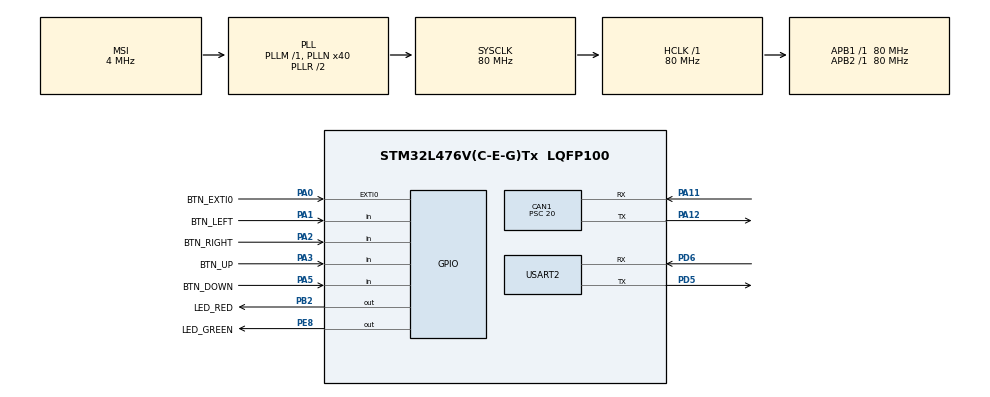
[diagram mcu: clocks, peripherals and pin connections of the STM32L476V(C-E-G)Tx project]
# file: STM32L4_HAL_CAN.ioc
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CAN1.BS1=CAN_BS1_13TQ
CAN1.BS2=CAN_BS2_2TQ
CAN1.CalculateBaudRate=250000
CAN1.CalculateTimeBit=4000
CAN1.CalculateTimeQuantum=250.0
CAN1.Mode=CAN_MODE_LOOPBACK
CAN1.Prescaler=20
Mcu.Family=STM32L4
Mcu.Name=STM32L476V(C-E-G)Tx
Mcu.Package=LQFP100
NVIC.CAN1_RX0_IRQn=true\:0\:0\:false\:false\:true\:true\:true\:true
NVIC.EXTI0_IRQn=true\:0\:0\:false\:false\:true\:true\:true\:true
NVIC.PriorityGroup=NVIC_PRIORITYGROUP_4
PA0.GPIO_Label=BTN_EXTI0
PA0.Signal=GPXTI0
PA1.GPIO_Label=BTN_LEFT
PA1.GPIO_PuPd=GPIO_PULLDOWN
PA1.Signal=GPIO_Input
PA11.Mode=CAN_Activate
PA11.Signal=CAN1_RX
PA12.Mode=CAN_Activate
PA12.Signal=CAN1_TX
PA13\ (JTMS-SWDIO).Mode=Serial_Wire
PA13\ (JTMS-SWDIO).Signal=SYS_JTMS-SWDIO
PA14\ (JTCK-SWCLK).Mode=Serial_Wire
PA14\ (JTCK-SWCLK).Signal=SYS_JTCK-SWCLK
PA2.GPIO_Label=BTN_RIGHT
PA2.GPIO_PuPd=GPIO_PULLDOWN
PA2.Signal=GPIO_Input
PA3.GPIO_Label=BTN_UP
PA3.GPIO_PuPd=GPIO_PULLDOWN
PA3.Signal=GPIO_Input
PA5.GPIO_Label=BTN_DOWN
PA5.GPIO_PuPd=GPIO_PULLDOWN
PA5.Signal=GPIO_Input
PB2.GPIO_Label=LED_RED
PB2.Signal=GPIO_Output
PC14-OSC32_IN\ (PC14).Mode=LSE-External-Oscillator
PC14-OSC32_IN\ (PC14).Signal=RCC_OSC32_IN
PC15-OSC32_OUT\ (PC15).Mode=LSE-External-Oscillator
PC15-OSC32_OUT\ (PC15).Signal=RCC_OSC32_OUT
PD5.Mode=Asynchronous
PD5.Signal=USART2_TX
PD6.Mode=Asynchronous
PD6.Signal=USART2_RX
PE8.GPIO_Label=LED_GREEN
PE8.Signal=GPIO_Output
ProjectManager.HeapSize=0x200
ProjectManager.StackSize=0x400
ProjectManager.TargetToolchain=STM32CubeIDE
RCC.ADCFreq_Value=48000000
RCC.AHBFreq_Value=80000000
RCC.APB1Freq_Value=80000000
RCC.APB1TimFreq_Value=80000000
RCC.APB2Freq_Value=80000000
RCC.APB2TimFreq_Value=80000000
RCC.CortexFreq_Value=80000000
RCC.HCLKFreq_Value=80000000
RCC.HSE_VALUE=8000000
RCC.HSI_VALUE=16000000
RCC.MSI_VALUE=4000000
RCC.PLLN=40
RCC.PLLSAI1N=24
RCC.SYSCLKFreq_VALUE=80000000
RCC.SYSCLKSource=RCC_SYSCLKSOURCE_PLLCLK
RCC.USBFreq_Value=48000000
RCC.VCOOutputFreq_Value=160000000
USART2.VirtualMode-Asynchronous=VM_ASYNC
board=STM32L476G-DISCO

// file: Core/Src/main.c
/* USER CODE BEGIN Header */
/**
  ******************************************************************************
  * @file           : main.c
  * @brief          : Main program body
  ******************************************************************************
  * @attention
  *
  * Copyright (c) 2023 STMicroelectronics.
  * All rights reserved.
  *
  * This software is licensed under terms that can be found in the LICENSE file
  * in the root directory of this software component.
  * If no LICENSE file comes with this software, it is provided AS-IS.
  *
  ******************************************************************************
  */
/* USER CODE END Header */
#include "main.h"
#include "can.h"
#include "usart.h"
#include "gpio.h"

/* USER CODE BEGIN Includes */
#include <Stdio.h>
/* USER CODE END Includes */

void SystemClock_Config(void);

/* USER CODE BEGIN 0 */

int _write(int file, char* buf, int len)
{
  HAL_UART_Transmit(&huart2, (const uint8_t *)buf, len, 100);
  return len;
}

HAL_StatusTypeDef configCANFilter(uint8_t idx, uint32_t id, uint32_t mask)
{
  CAN_FilterTypeDef filter;

  filter.FilterIdHigh = ((id << 3) & 0xFFFF0000) >> 16;
  filter.FilterIdLow = (id << 3) & 0x0000FFF8;
  filter.FilterMaskIdHigh = ((mask << 3) & 0xFFFF0000) >> 16;
  filter.FilterMaskIdLow = (mask << 3) & 0x0000FFF8;
  filter.FilterScale = CAN_FILTERSCALE_32BIT;
  filter.FilterMode = CAN_FILTERMODE_IDMASK;
  filter.FilterFIFOAssignment = CAN_FILTER_FIFO0;
  filter.FilterBank = idx;
  filter.FilterActivation = ENABLE;
  filter.SlaveStartFilterBank = 14;

  return HAL_CAN_ConfigFilter(&hcan1, &filter);
}

HAL_StatusTypeDef txCANMessage(uint32_t extId)
{
  CAN_TxHeaderTypeDef txHeader;
  uint8_t data[8];
  uint32_t txMailBox;

  txHeader.ExtId = extId;
  txHeader.IDE = CAN_ID_EXT;
  txHeader.RTR = CAN_RTR_DATA;
  txHeader.DLC = 8;

  for(int i = 0; i < 8; i++)
  {
    data[i] = i;
  }

  while(HAL_CAN_GetTxMailboxesFreeLevel(&hcan1) == 0);

  return HAL_CAN_AddTxMessage(&hcan1, &txHeader, (const uint8_t*)&data, &txMailBox);
}

void HAL_CAN_RxFifo0MsgPendingCallback(CAN_HandleTypeDef *hcan)
{
  if(hcan->Instance == CAN1)
  {
    CAN_RxHeaderTypeDef rxHeader;
    uint8_t data[8];

    if(HAL_CAN_GetRxMessage(&hcan1, CAN_RX_FIFO0, &rxHeader, (uint8_t*)data) == HAL_OK)
    {
      printf("CAN ID: [%02X][%02X][%02X][%02X] [%02X][%02X][%02X][%02X][%02X][%02X][%02X][%02X]\r\n",
          (uint8_t)((rxHeader.ExtId & 0xFF000000) >> 24),
          (uint8_t)((rxHeader.ExtId & 0xFF0000) >> 16),
          (uint8_t)((rxHeader.ExtId & 0xFF00) >> 8),
          (uint8_t)((rxHeader.ExtId & 0xFF) >> 0),
          data[0], data[1], data[2], data[3], data[4], data[5], data[6], data[7]);
    }
  }
}

/* USER CODE END 0 */

int main(void)
{

  /* MCU Configuration--------------------------------------------------------*/

  /* Reset of all peripherals, Initializes the Flash interface and the Systick. */
  HAL_Init();

  /* Configure the system clock */
  SystemClock_Config();

  /* Initialize all configured peripherals */
  MX_GPIO_Init();
  MX_USART2_UART_Init();
  MX_CAN1_Init();
  /* USER CODE BEGIN 2 */

  // allow 0x100000000 ~ 0x100000FFF
  configCANFilter(0, 0x10000000, 0xFFFFF000);
  //configCANFilter(0, 0, 0);
  HAL_CAN_ActivateNotification(&hcan1, CAN_IT_RX_FIFO0_MSG_PENDING);
  HAL_CAN_Start(&hcan1);

  /* USER CODE END 2 */

  /* Infinite loop */
  while (1)
  {

    /* USER CODE BEGIN 3 */

    // accepted IDs
    txCANMessage(0x10000000);
    txCANMessage(0x10000FFF);

    // filtered IDs
    txCANMessage(0x10001000);

    HAL_Delay(1000);
  }
  /* USER CODE END 3 */
}

void SystemClock_Config(void)
{
  RCC_OscInitTypeDef RCC_OscInitStruct = {0};
  RCC_ClkInitTypeDef RCC_ClkInitStruct = {0};

  /** Configure the main internal regulator output voltage
  */
  if (HAL_PWREx_ControlVoltageScaling(PWR_REGULATOR_VOLTAGE_SCALE1) != HAL_OK)
  {
    Error_Handler();
  }

  /** Configure LSE Drive Capability
  */
  HAL_PWR_EnableBkUpAccess();
  __HAL_RCC_LSEDRIVE_CONFIG(RCC_LSEDRIVE_LOW);

  /** Initializes the RCC Oscillators according to the specified parameters
  * in the RCC_OscInitTypeDef structure.
  */
  RCC_OscInitStruct.OscillatorType = RCC_OSCILLATORTYPE_LSE|RCC_OSCILLATORTYPE_MSI;
  RCC_OscInitStruct.LSEState = RCC_LSE_ON;
  RCC_OscInitStruct.MSIState = RCC_MSI_ON;
  RCC_OscInitStruct.MSICalibrationValue = 0;
  RCC_OscInitStruct.MSIClockRange = RCC_MSIRANGE_6;
  RCC_OscInitStruct.PLL.PLLState = RCC_PLL_ON;
  RCC_OscInitStruct.PLL.PLLSource = RCC_PLLSOURCE_MSI;
  RCC_OscInitStruct.PLL.PLLM = 1;
  RCC_OscInitStruct.PLL.PLLN = 40;
  RCC_OscInitStruct.PLL.PLLP = RCC_PLLP_DIV7;
  RCC_OscInitStruct.PLL.PLLQ = RCC_PLLQ_DIV2;
  RCC_OscInitStruct.PLL.PLLR = RCC_PLLR_DIV2;
  if (HAL_RCC_OscConfig(&RCC_OscInitStruct) != HAL_OK)
  {
    Error_Handler();
  }

  /** Initializes the CPU, AHB and APB buses clocks
  */
  RCC_ClkInitStruct.ClockType = RCC_CLOCKTYPE_HCLK|RCC_CLOCKTYPE_SYSCLK
                              |RCC_CLOCKTYPE_PCLK1|RCC_CLOCKTYPE_PCLK2;
  RCC_ClkInitStruct.SYSCLKSource = RCC_SYSCLKSOURCE_PLLCLK;
  RCC_ClkInitStruct.AHBCLKDivider = RCC_SYSCLK_DIV1;
  RCC_ClkInitStruct.APB1CLKDivider = RCC_HCLK_DIV1;
  RCC_ClkInitStruct.APB2CLKDivider = RCC_HCLK_DIV1;

  if (HAL_RCC_ClockConfig(&RCC_ClkInitStruct, FLASH_LATENCY_4) != HAL_OK)
  {
    Error_Handler();
  }

  /** Enable MSI Auto calibration
  */
  HAL_RCCEx_EnableMSIPLLMode();
}

void Error_Handler(void)
{
  __disable_irq();
  while (1)
  {
  }
}
